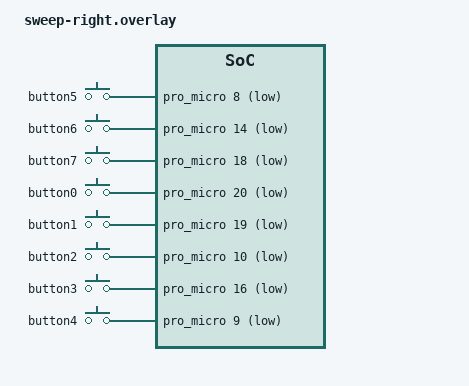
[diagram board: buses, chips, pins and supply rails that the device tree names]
/*
 * Right half of the Sweep as an 8-key glasses pad: pins for Ben Vallack's
 * 4 Key BLE pad firmware, applied on top of its app.overlay via
 * EXTRA_DTC_OVERLAY_FILE (see blepad/README.md).
 *
 * Pins come from ZMK's cradio shield (direct-wired, GPIO to GND). On the right
 * half, kscan index i is matrix column 17+i, which places the keys as:
 *
 *   top:    RT0 RT1 RT2 RT3 RT4  = pro_micro 21 20 19 18  7
 *   home:   RM0 RM1 RM2 RM3 RM4  = pro_micro  1 10 16 14 15
 *   bottom: RB0 RB1 RB2 RB3 RB4  = pro_micro  6  5  4  3  2
 *   thumbs: RH0 RH1              = pro_micro  9  8
 *
 * Pad positions (key index + 1). 1-4 form a 2x2 under index and middle finger,
 * in the same order as Ben's 2x2 pad, so its server bindings carry over:
 *
 *   1 RT1   2 RT2   8 RT3
 *   3 RM1   4 RM2   7 RM3
 *   5 RH0 (inner thumb, Ben's trigger key)   6 RH1 (outer thumb)
 *
 * pro_micro 0/1 (the board's UART pins) are avoided.
 */

&button0 { gpios = <&pro_micro 20 (GPIO_ACTIVE_LOW | GPIO_PULL_UP)>; };	/* RT1 */
&button1 { gpios = <&pro_micro 19 (GPIO_ACTIVE_LOW | GPIO_PULL_UP)>; };	/* RT2 */
&button2 { gpios = <&pro_micro 10 (GPIO_ACTIVE_LOW | GPIO_PULL_UP)>; };	/* RM1 */
&button3 { gpios = <&pro_micro 16 (GPIO_ACTIVE_LOW | GPIO_PULL_UP)>; };	/* RM2 */
&button4 { gpios = <&pro_micro 9 (GPIO_ACTIVE_LOW | GPIO_PULL_UP)>; };	/* RH0 */

/ {
	buttons {
		button5: button_5 {
			gpios = <&pro_micro 8 (GPIO_ACTIVE_LOW | GPIO_PULL_UP)>;	/* RH1 */
			zephyr,code = <INPUT_KEY_6>;
		};
		button6: button_6 {
			gpios = <&pro_micro 14 (GPIO_ACTIVE_LOW | GPIO_PULL_UP)>;	/* RM3 */
			zephyr,code = <INPUT_KEY_7>;
		};
		button7: button_7 {
			gpios = <&pro_micro 18 (GPIO_ACTIVE_LOW | GPIO_PULL_UP)>;	/* RT3 */
			zephyr,code = <INPUT_KEY_8>;
		};
	};
};
